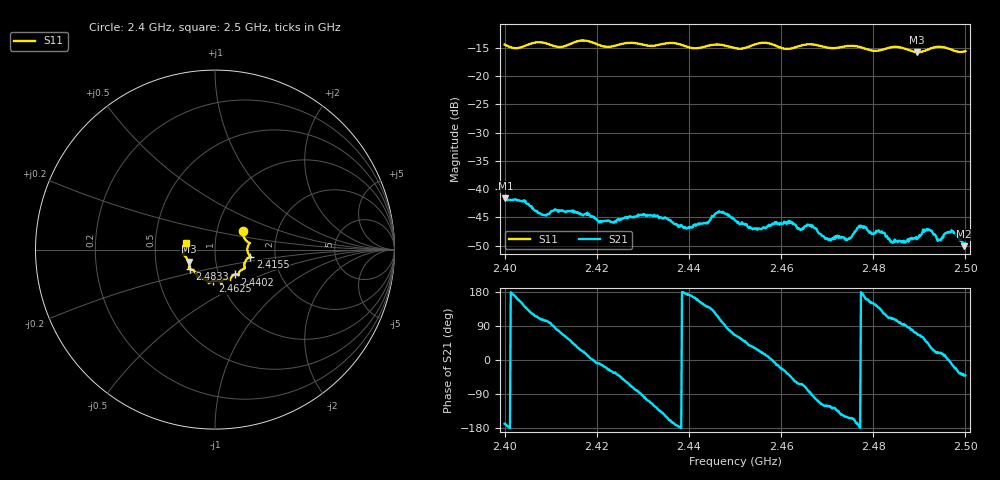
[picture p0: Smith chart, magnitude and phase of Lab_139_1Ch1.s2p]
# Hz S RI R 50
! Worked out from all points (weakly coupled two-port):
!   601 points, 2.4 GHz to 2.5 GHz, reference 50 ohm
!   highest |S21| = -41.63 dB at 2.4002 GHz (marker M1); lowest = -50.1 dB at 2.4997 GHz (marker M2)
!   lowest |S11| = -15.8 dB at 2.4895 GHz (marker M3), VSWR 1.39, Z = 36.9 - j5.02 ohm
!   |S11| at or under -10 dB: start of sweep to end of sweep
!   S12 and S22 are empty: the file has one direction only
!   S11 on the Smith chart (normalised r, x): 2.4 GHz: 1.34, +0.29; 2.4155 GHz: 1.48, -0.12; 2.4402 GHz: 1.20, -0.34; 2.4625 GHz: 0.92, -0.33; 2.4833 GHz: 0.74, -0.17; 2.5 GHz: 0.72, +0.06
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2.4e9  0.1566 0.1051  -0.00807 -0.0017  0 0  0 0
2.400167e9  0.1565 0.1029  -0.00814 -0.00153  0 0  0 0
2.4085e9  0.193 0.0352  -0.00156 0.00571  0 0  0 0
2.4155e9  0.1969 -0.0385  0.00494 0.00376  0 0  0 0
2.416667e9  0.201 -0.0426  0.00541 0.00256  0 0  0 0
2.423333e9  0.1636 -0.0796  0.0044 -0.0026  0 0  0 0
2.433333e9  0.1323 -0.1332  -0.00379 -0.00432  0 0  0 0
2.440167e9  0.112 -0.1383  -0.00457 0.00073  0 0  0 0
2.4465e9  0.0844 -0.1694  -0.00229 0.00595  0 0  0 0
2.45e9  0.0646 -0.1637  0.0022 0.00483  0 0  0 0
2.454333e9  0.0361 -0.1863  0.00385 0.00232  0 0  0 0
2.4625e9  -0.011 -0.1757  0.00317 -0.00376  0 0  0 0
2.466667e9  -0.0346 -0.1869  -9.13e-05 -0.00461  0 0  0 0
2.470333e9  -0.0515 -0.1693  -0.00192 -0.00297  0 0  0 0
2.474667e9  -0.0905 -0.1602  -0.00321 -0.00167  0 0  0 0
2.4775e9  -0.0982 -0.1485  -0.00468 0.000318  0 0  0 0
2.483333e9  -0.1392 -0.1095  -0.0013 0.00337  0 0  0 0
2.4895e9  -0.1475 -0.0664  0.00128 0.00339  0 0  0 0
2.491667e9  -0.1649 -0.039  0.00302 0.00327  0 0  0 0
2.497e9  -0.1702 -0.00554  0.00427 -0.000802  0 0  0 0
2.499667e9  -0.1605 0.0331  0.00236 -0.00206  0 0  0 0
2.5e9  -0.1609 0.0384  0.00243 -0.00208  0 0  0 0
